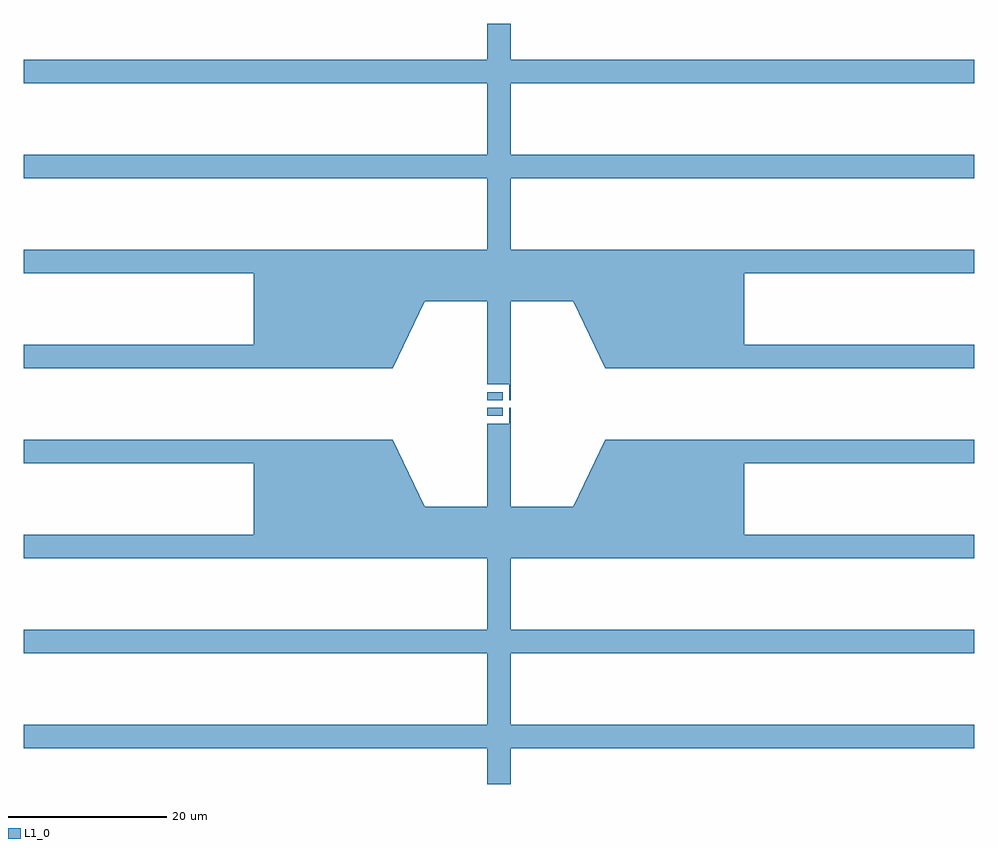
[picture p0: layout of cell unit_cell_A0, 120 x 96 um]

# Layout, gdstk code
from math import pi, radians
import gdstk
lib = gdstk.Library(unit=1e-6, precision=1e-09)
def R(c, l, rs):  # rectangles x0, y0, x1, y1
    for r in rs: c.add(gdstk.rectangle(r[:2], r[2:], *l))
def P(c, l, *ps):  # polygons
    for p in ps: c.add(gdstk.Polygon(p, *l))
L1_0 = (1, 0)

unnamed_949 = lib.new_cell('Unnamed_949')
P(unnamed_949, L1_0, [(58.5,0),(58.5,4.5),(0,4.5),(0,7.5),(58.5,7.5),(58.5,16.5),(0,16.5),(0,19.5),(58.5,19.5),(58.5,28.5),(0,28.5),(0,31.5),(29,31.5),(29,40.5),(0,40.5),(0,43.5),(46.597,43.5),(50.596,35),(58.5,35),(58.5,45.5),(60,45.5),(60,0)])

unnamed_950 = lib.new_cell('Unnamed_950')
unnamed_950.add(gdstk.Reference(unnamed_949, (0,0)))

rectangle_s2_1_lwg_cfal_ = lib.new_cell('rectangle_S2_1_LWG_CFal_a0a9c26d')
R(rectangle_s2_1_lwg_cfal_, L1_0, [(0,0,2,1)])

rectangle_s0p2_2_lwg_cf_ = lib.new_cell('rectangle_S0p2_2_LWG_CF_9ef6d549')
R(rectangle_s0p2_2_lwg_cf_, L1_0, [(0,0,0.2,2)])

unnamed_951 = lib.new_cell('Unnamed_951')
unnamed_951.add(gdstk.Reference(rectangle_s2_1_lwg_cfal_, (0,-1.5)))
unnamed_951.add(gdstk.Reference(rectangle_s0p2_2_lwg_cf_, (2.8,-2.5)))

unit_cell_a0 = lib.new_cell('unit_cell_A0')
unit_cell_a0.add(gdstk.Reference(unnamed_950, (0,0)))
unit_cell_a0.add(gdstk.Reference(unnamed_950, (120,0), rotation=pi, x_reflection=True))
unit_cell_a0.add(gdstk.Reference(unnamed_950, (0,96), x_reflection=True))
unit_cell_a0.add(gdstk.Reference(unnamed_950, (120,96), rotation=pi))
unit_cell_a0.add(gdstk.Reference(unnamed_951, (58.5,48)))
unit_cell_a0.add(gdstk.Reference(unnamed_951, (58.5,48), x_reflection=True))

lib.write_gds('unit_cell_A0.gds')
